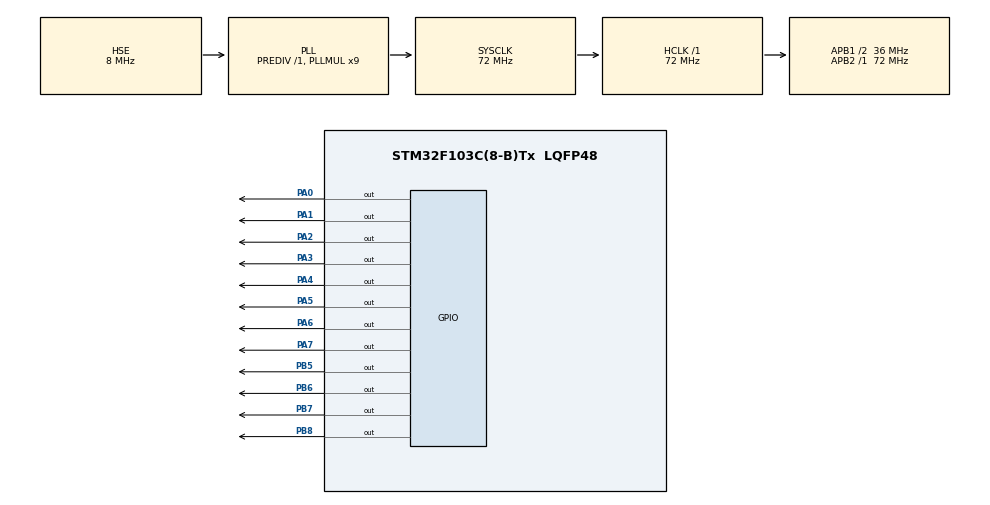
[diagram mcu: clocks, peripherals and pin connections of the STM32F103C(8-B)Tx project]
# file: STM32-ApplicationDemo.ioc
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Mcu.Family=STM32F1
Mcu.Name=STM32F103C(8-B)Tx
Mcu.Package=LQFP48
NVIC.PriorityGroup=NVIC_PRIORITYGROUP_4
PA0-WKUP.GPIO_ModeDefaultOutputPP=GPIO_MODE_OUTPUT_PP
PA0-WKUP.GPIO_PuPd=GPIO_NOPULL
PA0-WKUP.GPIO_Speed=GPIO_SPEED_FREQ_HIGH
PA0-WKUP.PinState=GPIO_PIN_SET
PA0-WKUP.Signal=GPIO_Output
PA1.GPIO_ModeDefaultOutputPP=GPIO_MODE_OUTPUT_PP
PA1.GPIO_PuPd=GPIO_NOPULL
PA1.GPIO_Speed=GPIO_SPEED_FREQ_HIGH
PA1.PinState=GPIO_PIN_SET
PA1.Signal=GPIO_Output
PA13.Mode=Serial_Wire
PA13.Signal=SYS_JTMS-SWDIO
PA14.Mode=Serial_Wire
PA14.Signal=SYS_JTCK-SWCLK
PA2.GPIO_ModeDefaultOutputPP=GPIO_MODE_OUTPUT_PP
PA2.GPIO_PuPd=GPIO_NOPULL
PA2.GPIO_Speed=GPIO_SPEED_FREQ_HIGH
PA2.PinState=GPIO_PIN_SET
PA2.Signal=GPIO_Output
PA3.GPIO_ModeDefaultOutputPP=GPIO_MODE_OUTPUT_PP
PA3.GPIO_PuPd=GPIO_NOPULL
PA3.GPIO_Speed=GPIO_SPEED_FREQ_HIGH
PA3.PinState=GPIO_PIN_SET
PA3.Signal=GPIO_Output
PA4.GPIO_ModeDefaultOutputPP=GPIO_MODE_OUTPUT_PP
PA4.GPIO_PuPd=GPIO_NOPULL
PA4.GPIO_Speed=GPIO_SPEED_FREQ_HIGH
PA4.PinState=GPIO_PIN_SET
PA4.Signal=GPIO_Output
PA5.GPIO_ModeDefaultOutputPP=GPIO_MODE_OUTPUT_PP
PA5.GPIO_PuPd=GPIO_NOPULL
PA5.GPIO_Speed=GPIO_SPEED_FREQ_HIGH
PA5.PinState=GPIO_PIN_SET
PA5.Signal=GPIO_Output
PA6.GPIO_ModeDefaultOutputPP=GPIO_MODE_OUTPUT_PP
PA6.GPIO_PuPd=GPIO_NOPULL
PA6.GPIO_Speed=GPIO_SPEED_FREQ_HIGH
PA6.PinState=GPIO_PIN_SET
PA6.Signal=GPIO_Output
PA7.GPIO_ModeDefaultOutputPP=GPIO_MODE_OUTPUT_PP
PA7.GPIO_PuPd=GPIO_NOPULL
PA7.GPIO_Speed=GPIO_SPEED_FREQ_HIGH
PA7.PinState=GPIO_PIN_SET
PA7.Signal=GPIO_Output
PB5.GPIO_ModeDefaultOutputPP=GPIO_MODE_OUTPUT_PP
PB5.GPIO_PuPd=GPIO_NOPULL
PB5.GPIO_Speed=GPIO_SPEED_FREQ_HIGH
PB5.PinState=GPIO_PIN_SET
PB5.Signal=GPIO_Output
PB6.GPIO_ModeDefaultOutputPP=GPIO_MODE_OUTPUT_PP
PB6.GPIO_PuPd=GPIO_NOPULL
PB6.GPIO_Speed=GPIO_SPEED_FREQ_HIGH
PB6.PinState=GPIO_PIN_SET
PB6.Signal=GPIO_Output
PB7.GPIO_ModeDefaultOutputPP=GPIO_MODE_OUTPUT_PP
PB7.GPIO_PuPd=GPIO_NOPULL
PB7.GPIO_Speed=GPIO_SPEED_FREQ_HIGH
PB7.PinState=GPIO_PIN_SET
PB7.Signal=GPIO_Output
PB8.GPIO_ModeDefaultOutputPP=GPIO_MODE_OUTPUT_PP
PB8.GPIO_PuPd=GPIO_NOPULL
PB8.GPIO_Speed=GPIO_SPEED_FREQ_HIGH
PB8.PinState=GPIO_PIN_SET
PB8.Signal=GPIO_Output
PD0-OSC_IN.Mode=HSE-External-Oscillator
PD0-OSC_IN.Signal=RCC_OSC_IN
PD1-OSC_OUT.Mode=HSE-External-Oscillator
PD1-OSC_OUT.Signal=RCC_OSC_OUT
ProjectManager.HeapSize=0x400
ProjectManager.StackSize=0x800
ProjectManager.TargetToolchain=MDK-ARM V5
RCC.AHBFreq_Value=72000000
RCC.APB1CLKDivider=RCC_HCLK_DIV2
RCC.APB1Freq_Value=36000000
RCC.APB1TimFreq_Value=72000000
RCC.APB2Freq_Value=72000000
RCC.APB2TimFreq_Value=72000000
RCC.EnbaleCSS=true
RCC.HCLKFreq_Value=72000000
RCC.PLLMUL=RCC_PLL_MUL9
RCC.PLLSourceVirtual=RCC_PLLSOURCE_HSE
RCC.RTCClockSelection=RCC_RTCCLKSOURCE_LSE
RCC.SYSCLKFreq_VALUE=72000000
RCC.SYSCLKSource=RCC_SYSCLKSOURCE_PLLCLK
RCC.USBFreq_Value=72000000
board=custom

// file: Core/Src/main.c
/* USER CODE BEGIN Header */
/**
 ******************************************************************************
 * @file           : main.c
 * @brief          : Main program body
 ******************************************************************************
 * @attention
 *
 * Copyright (c) 2025 STMicroelectronics.
 * All rights reserved.
 *
 * This software is licensed under terms that can be found in the LICENSE file
 * in the root directory of this software component.
 * If no LICENSE file comes with this software, it is provided AS-IS.
 *
 ******************************************************************************
 */
/* USER CODE END Header */
#include "main.h"
#include "gpio.h"

/* USER CODE BEGIN PD */
// 控制引脚(PB5 - PB8)
#define LCD_CS_PORT GPIOB
#define LCD_CS_PIN GPIO_PIN_5
#define LCD_RS_PORT GPIOB
#define LCD_RS_PIN GPIO_PIN_6
#define LCD_WR_PORT GPIOB
#define LCD_WR_PIN GPIO_PIN_7
#define LCD_RST_PORT GPIOB
#define LCD_RST_PIN GPIO_PIN_8
// 数据引脚(PA0 - PA7)
#define LCD_DATA_PORT GPIOA

// 控制引脚宏
#define LCD_CS_LOW() (LCD_CS_PORT->BSRR = (uint32_t)LCD_CS_PIN << 16U)
#define LCD_CS_HIGH() (LCD_CS_PORT->BSRR = LCD_CS_PIN)

#define LCD_RS_LOW() (LCD_RS_PORT->BSRR = (uint32_t)LCD_RS_PIN << 16U)
#define LCD_RS_HIGH() (LCD_RS_PORT->BSRR = LCD_RS_PIN)

#define LCD_WR_LOW() (LCD_WR_PORT->BSRR = (uint32_t)LCD_WR_PIN << 16U)
#define LCD_WR_HIGH() (LCD_WR_PORT->BSRR = LCD_WR_PIN)

#define LCD_RST_LOW() (LCD_RST_PORT->BSRR = (uint32_t)LCD_RST_PIN << 16U)
#define LCD_RST_HIGH() (LCD_RST_PORT->BSRR = LCD_RST_PIN)

/* USER CODE END PD */

/* USER CODE BEGIN PV */

// 用于WS2812B的G、R、B颜色[0-255]二维数组
// uint8_t GRB_Color[3][256];

const uint8_t Font_16x16_Qing[32] = {
    0x00, 0x40, 0x20, 0x40, 0x17, 0xfc, 0x10, 0x40, 0x83, 0xf8, 0x40, 0x40, 0x47, 0xfe, 0x10, 0x00,
    0x13, 0xf8, 0x22, 0x08, 0xe3, 0xf8, 0x22, 0x08, 0x23, 0xf8, 0x22, 0x08, 0x22, 0x28, 0x02, 0x10}; /* "清" */

const uint8_t Font_16x16_Ping[32] = {
    0x00, 0x00, 0x3f, 0xf8, 0x20, 0x08, 0x20, 0x08, 0x3f, 0xf8, 0x24, 0x10, 0x22, 0x20, 0x2f, 0xf8,
    0x22, 0x20, 0x22, 0x20, 0x3f, 0xfc, 0x22, 0x20, 0x42, 0x20, 0x44, 0x20, 0x84, 0x20, 0x08, 0x20}; /* "屏" */

const uint8_t Font_16x16_Zhong[32] = {
    0x01, 0x00, 0x01, 0x00, 0x01, 0x00, 0x01, 0x00, 0x3F, 0xF8, 0x21, 0x08, 0x21, 0x08, 0x21, 0x08,
    0x21, 0x08, 0x21, 0x08, 0x3F, 0xF8, 0x01, 0x00, 0x01, 0x00, 0x01, 0x00, 0x01, 0x00, 0x01, 0x00}; /* "中" */

const uint8_t dot[] = {
    0x00, 0x00, 0x00, 0x00, 0x00, 0x00, 0x00, 0x00, 0x00, 0x00, 0x00, 0x00, 0x00, 0x00, 0x00, 0x00,
    0x01, 0x80, 0x01, 0x80, 0x00, 0x00, 0x00, 0x00, 0x00, 0x00, 0x00, 0x00, 0x00, 0x00, 0x00, 0x00}; /* "." */

/* USER CODE END PV */

void SystemClock_Config(void);
/* USER CODE BEGIN PFP */

/**
 * @brief  将 8 位数据写入到数据总线 (PA0-PA7)
 * @param  data: 要写入的 8 位数据
 */
static void Lcd_Write_Data_Bus(uint8_t data)
{
  // ☆★☆★☆★☆★☆★!!! 使用ODR的方式不是原子操作，在读取和写入之间的时间间隔内，会被中断影响 !!!☆★☆★☆★☆★☆★
  // 使用 BSRR 直接操作，无需读取 ODR
  // BSRR 高16位是 Reset (置0)，低16位是 Set (置1)
  // 我们操作的是 PA0-PA7，所以数据要左移 8 位

  uint32_t set_bits = ((uint32_t)data);
  uint32_t reset_bits = ((uint32_t)(~data & 0xFF));

  LCD_DATA_PORT->BSRR = (reset_bits << 16) | set_bits;
}

/**
 * @brief  向LCD写入一个命令 (RS=0)
 * @param  cmd: 8位命令
 */
void Lcd_Write_Cmd(uint8_t cmd)
{
  LCD_CS_LOW(); // 1. 片选拉低，选中LCD
  LCD_RS_LOW(); // 2. RS拉低，表示这是命令

  Lcd_Write_Data_Bus(cmd); // 3. 将命令写入数据总线

  LCD_WR_LOW(); // 4. WR拉低

  LCD_WR_HIGH(); // 5. WR拉高 (产生一个上升沿，数据被锁存)

  LCD_CS_HIGH(); // 6. 片选拉高，释放LCD
}

/**
 * @brief  向LCD写入一个数据 (RS=1)
 * @param  data: 8位数据
 */
void Lcd_Write_Data(uint8_t data)
{
  LCD_CS_LOW();  // 1. 片选拉低
  LCD_RS_HIGH(); // 2. RS拉高，表示这是数据

  Lcd_Write_Data_Bus(data); // 3. 将数据写入数据总线

  LCD_WR_LOW(); // 4. WR拉低

  LCD_WR_HIGH(); // 5. WR拉高 (锁存数据)

  LCD_CS_HIGH(); // 6. 片选拉高
}

/* USER CODE END PFP */

/* USER CODE BEGIN 0 */

/**
 * @brief LCD硬件复位
 *
 */
void Lcd_Reset(void)
{
  // // 1. 先拉高，确保复位引脚处于已知状态
  LCD_RST_HIGH();
  HAL_Delay(50);

  // 2. 拉低复位
  LCD_RST_LOW();
  HAL_Delay(120); // 保持足够长的时间

  // 3. 拉高结束复位
  LCD_RST_HIGH();
  HAL_Delay(120); // 等待 LCD 内部逻辑复位完成
}

void Lcd_Init(void)
{
  HAL_Delay(200);

  // 1. 执行硬件复位
  Lcd_Reset();

  // 2. 开始执行S6D04D1X21初始化序列
  Lcd_Write_Cmd(0xE0);  // MDDI Control 1 (E0h)
  Lcd_Write_Data(0x01); // VWAKE_EN=1
  HAL_Delay(150);

  Lcd_Write_Cmd(0x11); // Sleep Out (11h)
  HAL_Delay(150);      // 必须等待 150ms

  Lcd_Write_Cmd(0xF3);  // Power Control Register (F3h)
  Lcd_Write_Data(0x01); // VCI1_EN
  Lcd_Write_Data(0x00);
  Lcd_Write_Data(0x00);
  Lcd_Write_Data(0x0C); // VCI1 level
  Lcd_Write_Data(0x03); // VGH, VGL
  Lcd_Write_Data(0x75);
  Lcd_Write_Data(0x75);
  Lcd_Write_Data(0x30);

  Lcd_Write_Cmd(0xF4); // VCOM Control Register (F4h)
  Lcd_Write_Data(0x4C);
  Lcd_Write_Data(0x4C);
  Lcd_Write_Data(0x44);
  Lcd_Write_Data(0x44);
  Lcd_Write_Data(0x22);

  Lcd_Write_Cmd(0xF5); // Source Output Control Register (F5h)
  Lcd_Write_Data(0x10);
  Lcd_Write_Data(0x22);
  Lcd_Write_Data(0x05);
  Lcd_Write_Data(0xF0);
  Lcd_Write_Data(0x70);
  Lcd_Write_Data(0x1F);
  HAL_Delay(30);

  // VCI1 逐步上电
  Lcd_Write_Cmd(0xF3); // Power Control Register (F3h)
  Lcd_Write_Data(0x03);
  HAL_Delay(30);

  Lcd_Write_Cmd(0xF3);
  Lcd_Write_Data(0x07);
  HAL_Delay(30);

  Lcd_Write_Cmd(0xF3);
  Lcd_Write_Data(0x0F);
  HAL_Delay(30);

  Lcd_Write_Cmd(0xF3);
  Lcd_Write_Data(0x1F);
  HAL_Delay(30);

  Lcd_Write_Cmd(0xF3);
  Lcd_Write_Data(0x7F);
  HAL_Delay(30);

  // --- Gamma 设置 (非常重要) ---
  Lcd_Write_Cmd(0xF7); // Positive Gamma Control Register for Red (F7h)
  Lcd_Write_Data(0x80);
  Lcd_Write_Data(0x00);
  Lcd_Write_Data(0x00);
  Lcd_Write_Data(0x05);
  Lcd_Write_Data(0x0D);
  Lcd_Write_Data(0x1F);
  Lcd_Write_Data(0x26);
  Lcd_Write_Data(0x2D);
  Lcd_Write_Data(0x14);
  Lcd_Write_Data(0x15);
  Lcd_Write_Data(0x26);
  Lcd_Write_Data(0x20);
  Lcd_Write_Data(0x01);
  Lcd_Write_Data(0x22);
  Lcd_Write_Data(0x22);

  Lcd_Write_Cmd(0xF8); // Negative Gamma Control Register for Red
  Lcd_Write_Data(0x80);
  Lcd_Write_Data(0x00);
  Lcd_Write_Data(0x00);
  Lcd_Write_Data(0x00);
  Lcd_Write_Data(0x07);
  Lcd_Write_Data(0x1E);
  Lcd_Write_Data(0x2A);
  Lcd_Write_Data(0x32);
  Lcd_Write_Data(0x10);
  Lcd_Write_Data(0x16);
  Lcd_Write_Data(0x36);
  Lcd_Write_Data(0x3C);
  Lcd_Write_Data(0x3B);
  Lcd_Write_Data(0x22);
  Lcd_Write_Data(0x22);

  Lcd_Write_Cmd(0xF9); // Positive Gamma Control Register for Green
  Lcd_Write_Data(0x80);
  Lcd_Write_Data(0x00);
  Lcd_Write_Data(0x00);
  Lcd_Write_Data(0x05);
  Lcd_Write_Data(0x0D);
  Lcd_Write_Data(0x1F);
  Lcd_Write_Data(0x26);
  Lcd_Write_Data(0x2D);
  Lcd_Write_Data(0x14);
  Lcd_Write_Data(0x15);
  Lcd_Write_Data(0x26);
  Lcd_Write_Data(0x20);
  Lcd_Write_Data(0x01);
  Lcd_Write_Data(0x22);
  Lcd_Write_Data(0x22);

  Lcd_Write_Cmd(0xFA); // Negative Gamma Control Register for Green
  Lcd_Write_Data(0x80);
  Lcd_Write_Data(0x00);
  Lcd_Write_Data(0x00);
  Lcd_Write_Data(0x00);
  Lcd_Write_Data(0x07);
  Lcd_Write_Data(0x1E);
  Lcd_Write_Data(0x2A);
  Lcd_Write_Data(0x32);
  Lcd_Write_Data(0x10);
  Lcd_Write_Data(0x16);
  Lcd_Write_Data(0x36);
  Lcd_Write_Data(0x3C);
  Lcd_Write_Data(0x3B);
  Lcd_Write_Data(0x22);
  Lcd_Write_Data(0x22);

  Lcd_Write_Cmd(0xFB); // Positive Gamma Control Register for Blue
  Lcd_Write_Data(0x80);
  Lcd_Write_Data(0x00);
  Lcd_Write_Data(0x00);
  Lcd_Write_Data(0x05);
  Lcd_Write_Data(0x0D);
  Lcd_Write_Data(0x1F);
  Lcd_Write_Data(0x26);
  Lcd_Write_Data(0x2D);
  Lcd_Write_Data(0x14);
  Lcd_Write_Data(0x15);
  Lcd_Write_Data(0x26);
  Lcd_Write_Data(0x20);
  Lcd_Write_Data(0x01);
  Lcd_Write_Data(0x22);
  Lcd_Write_Data(0x22);

  Lcd_Write_Cmd(0xFC); // Negative Gamma Control Register for Blue
  Lcd_Write_Data(0x80);
  Lcd_Write_Data(0x00);
  Lcd_Write_Data(0x00);
  Lcd_Write_Data(0x00);
  Lcd_Write_Data(0x07);
  Lcd_Write_Data(0x1E);
  Lcd_Write_Data(0x2A);
  Lcd_Write_Data(0x32);
  Lcd_Write_Data(0x10);
  Lcd_Write_Data(0x16);
  Lcd_Write_Data(0x36);
  Lcd_Write_Data(0x3C);
  Lcd_Write_Data(0x3B);
  Lcd_Write_Data(0x22);
  Lcd_Write_Data(0x22);

  // --- 结束 Gamma 设置 ---

  Lcd_Write_Cmd(0x34); // Tearing Effect Line OFF (34h)

  Lcd_Write_Cmd(0x36);         // Memory Data Access Control (36h)
  Lcd_Write_Data(0x80 | 0x40); // 设置扫描方向等, 如果显示反了, 调整这个值

  Lcd_Write_Cmd(0x3A);  // Interface Pixel Format (3Ah)
  Lcd_Write_Data(0x55); // 0x55 = 16bit/pixel (RGB565)

  Lcd_Write_Cmd(0xF2); // Display Control Register (F2h)
  Lcd_Write_Data(0x17);
  Lcd_Write_Data(0x17);
  Lcd_Write_Data(0x0F);
  Lcd_Write_Data(0x08);
  Lcd_Write_Data(0x08);
  Lcd_Write_Data(0x00);
  Lcd_Write_Data(0x00);
  Lcd_Write_Data(0x00);
  Lcd_Write_Data(0x06);
  Lcd_Write_Data(0x13);
  Lcd_Write_Data(0x00);

  Lcd_Write_Cmd(0xF6); // Interface Control Register (F6h)
  Lcd_Write_Data(0x00);
  Lcd_Write_Data(0x80); // 8-bit 8080 interface
  Lcd_Write_Data(0x00);
  Lcd_Write_Data(0x00);

  Lcd_Write_Cmd(0xFD); // Gate Control Register (FDh)
  Lcd_Write_Data(0x02);
  Lcd_Write_Data(0x00); // 240*432

  HAL_Delay(20);

  // 3. 最终开启显示
  Lcd_Write_Cmd(0x29); // Display On (29h)
  HAL_Delay(20);

  // --- 初始化完成 ---
}

/**
 * @brief 设置LCD的绘图窗口
 *
 * @param x_start X起始位置
 * @param y_start Y起始位置
 * @param x_end X结束位置
 * @param y_end Y结束位置
 */
void Lcd_Set_Window(uint16_t x_start, uint16_t y_start, uint16_t x_end, uint16_t y_end)
{
  // 设置 X 坐标
  Lcd_Write_Cmd(0x2A);
  Lcd_Write_Data(x_start >> 8);
  Lcd_Write_Data(x_start & 0xFF);
  Lcd_Write_Data(x_end >> 8);
  Lcd_Write_Data(x_end & 0xFF);

  // 设置 Y 坐标
  Lcd_Write_Cmd(0x2B);
  Lcd_Write_Data(y_start >> 8);
  Lcd_Write_Data(y_start & 0xFF);
  Lcd_Write_Data(y_end >> 8);
  Lcd_Write_Data(y_end & 0xFF);
}

/**
 * @brief 绘制一个16*16的字符
 *
 * @param x x坐标
 * @param y y坐标
 * @param font 要绘制的字
 * @param color 字体颜色
 */
void Lcd_Draw_Char_16x16(uint16_t x, uint16_t y, const uint8_t *font, uint16_t color, uint16_t bg_color)
{
  uint16_t i, j;
  // 设置绘制窗口为 16x16 区域
  Lcd_Set_Window(x, y, x + 15, y + 15);
  Lcd_Write_Cmd(0x2C);

  LCD_CS_LOW();
  LCD_RS_HIGH();

  for (i = 0; i < 32; i++) // 32字节数据
  {
    uint8_t temp = font[i];
    for (j = 0; j < 8; j++) // 每字节8位
    {
      // 【核心修复】根据位值选择颜色：1用字体色，0用背景色
      uint16_t pixel_color = (temp & 0x80) ? color : bg_color;

      // --- 写入高8位 ---
      Lcd_Write_Data_Bus(pixel_color >> 8);
      LCD_WR_LOW();
      LCD_WR_HIGH();

      // --- 写入低8位 ---
      Lcd_Write_Data_Bus(pixel_color & 0xFF);
      LCD_WR_LOW();
      LCD_WR_HIGH();

      temp <<= 1;
    }
  }
  LCD_CS_HIGH();
}

/**
 * @brief  使用特定颜色填充整个屏幕 (高速优化版)
 * @param  color: 16-bit (RGB565) 颜色值
 */
void Lcd_Clear(uint16_t color)
{
  unsigned long i;
  // 您的代码中 96000 = 240 * 432
  unsigned long total_pixels = (unsigned long)240 * 432;

  // 1. 设置窗口为全屏 (坐标 0,0 到 239,431)
  Lcd_Set_Window(0, 0, 240 - 1, 432 - 1);

  // 2. 发送 "准备写内存" 命令
  Lcd_Write_Cmd(0x2C);

  // 3. 准备好要发送的高8位和低8位
  uint8_t color_high = (uint8_t)(color >> 8);
  uint8_t color_low = (uint8_t)(color & 0xFF);

  // 4. --- 开始高速写入 ---
  // 保持 CS=Low, RS=High，这使我们能连续发送数据
  LCD_CS_LOW();
  LCD_RS_HIGH();

  for (i = 0; i < total_pixels; i++)
  {
    // 发送高8位
    Lcd_Write_Data_Bus(color_high);
    LCD_WR_LOW();
    // for (volatile int d = 0; d < 20; d++)
    //   __NOP();
    LCD_WR_HIGH();

    // 发送低8位
    Lcd_Write_Data_Bus(color_low);
    LCD_WR_LOW();
    // for (volatile int d = 0; d < 20; d++)
    //   __NOP();
    LCD_WR_HIGH();
  }

  // 5. --- 结束高速写入 ---
  LCD_CS_HIGH();

  uint16_t text_color = ~color;

  // 计算居中位置 (屏幕宽240, 高432)
  // X轴居中: (240 - 16) / 2 = 112
  // Y轴起始: 150 (大概中间偏上)
  uint16_t x_pos = 112;
  uint16_t y_pos = 150;

  Lcd_Draw_Char_16x16(x_pos, y_pos, Font_16x16_Qing, text_color, color);
  Lcd_Draw_Char_16x16(x_pos, y_pos + 20, Font_16x16_Ping, text_color, color); // 垂直间距 20
  Lcd_Draw_Char_16x16(x_pos, y_pos + 40, Font_16x16_Zhong, text_color, color);
  Lcd_Draw_Char_16x16(x_pos, y_pos + 60, dot, text_color, color);
  Lcd_Draw_Char_16x16(x_pos, y_pos + 70, dot, text_color, color);
  Lcd_Draw_Char_16x16(x_pos, y_pos + 80, dot, text_color, color);
}

/* USER CODE END 0 */

int main(void)
{

  /* MCU Configuration--------------------------------------------------------*/

  /* Reset of all peripherals, Initializes the Flash interface and the Systick. */
  HAL_Init();

  /* USER CODE BEGIN Init */
  // HAL_Delay(100);
  /* USER CODE END Init */

  /* Configure the system clock */
  SystemClock_Config();

  /* Initialize all configured peripherals */
  MX_GPIO_Init();
  /* USER CODE BEGIN 2 */
  Lcd_Init();
  Lcd_Clear(0xFFFF);

  uint16_t test_colors[] = {
      0xF800, // 红色 (Red)
      0x07E0, // 绿色 (Green)
      0x001F, // 蓝色 (Blue)
      0xFFFF, // 白色 (White)
      0x0000, // 黑色 (Black)
      0xFFE0, // 黄色 (Yellow)
      0xF81F, // 紫色 (Magenta)
      0x07FF  // 青色 (Cyan)
  };

  uint8_t color_index = 0;
  uint8_t total_colors = sizeof(test_colors) / sizeof(test_colors[0]);

  // int sign = 0;
  // for (int i = 0; i < 256; i++)
  // {
  //   // 这里的逻辑是将 0 - 255 分成三段，确保 R, G, B 不会同时达到最大值 从而产生鲜艳的彩色，而不是白色
  //   if (i < 85)
  //   {
  //     // 第一阶段 (0~84): 红色渐弱，绿色渐强
  //     // R: 255 -> 0
  //     // G: 0 -> 255
  //     // B: 0
  //     GRB_Color[1][i] = 255 - i * 3; // R
  //     GRB_Color[0][i] = i * 3;       // G
  //     GRB_Color[2][i] = 0;           // B
  //   }
  //   else if (i < 170)
  //   {
  //     // 第二阶段 (85~169): 绿色渐弱，蓝色渐强
  //     // R: 0
  //     // G: 255 -> 0
  //     // B: 0 -> 255
  //     GRB_Color[1][i] = 0;                  // R
  //     GRB_Color[0][i] = 255 - (i - 85) * 3; // G
  //     GRB_Color[2][i] = (i - 85) * 3;       // B
  //   }
  //   else
  //   {
  //     // 第三阶段 (170~255): 蓝色渐弱，红色渐强
  //     // R: 0 -> 255
  //     // G: 0
  //     // B: 255 -> 0
  //     GRB_Color[1][i] = (i - 170) * 3;       // R
  //     GRB_Color[0][i] = 0;                   // G
  //     GRB_Color[2][i] = 255 - (i - 170) * 3; // B
  //   }
  // }

  /* USER CODE END 2 */

  /* Infinite loop */
  while (1)
  {

    /* USER CODE BEGIN 3 */

    // WS2812_Update(GRB_Color[0][sign], GRB_Color[1][sign], GRB_Color[2][sign]);
    // sign = ++sign > 255 ? 0 : sign;

    // 1. 刷屏当前颜色
    Lcd_Clear(test_colors[color_index]);

    // 2. 切换到下一个颜色
    color_index++;
    if (color_index >= total_colors)
    {
      color_index = 0;
    }

    // 3. 延时 1000ms (1秒)
    HAL_Delay(1000);
  }
  /* USER CODE END 3 */
}

void SystemClock_Config(void)
{
  RCC_OscInitTypeDef RCC_OscInitStruct = {0};
  RCC_ClkInitTypeDef RCC_ClkInitStruct = {0};

  /** Initializes the RCC Oscillators according to the specified parameters
   * in the RCC_OscInitTypeDef structure.
   */
  RCC_OscInitStruct.OscillatorType = RCC_OSCILLATORTYPE_HSE;
  RCC_OscInitStruct.HSEState = RCC_HSE_ON;
  RCC_OscInitStruct.HSEPredivValue = RCC_HSE_PREDIV_DIV1;
  RCC_OscInitStruct.HSIState = RCC_HSI_ON;
  RCC_OscInitStruct.PLL.PLLState = RCC_PLL_ON;
  RCC_OscInitStruct.PLL.PLLSource = RCC_PLLSOURCE_HSE;
  RCC_OscInitStruct.PLL.PLLMUL = RCC_PLL_MUL9;
  if (HAL_RCC_OscConfig(&RCC_OscInitStruct) != HAL_OK)
  {
    Error_Handler();
  }

  /** Initializes the CPU, AHB and APB buses clocks
   */
  RCC_ClkInitStruct.ClockType = RCC_CLOCKTYPE_HCLK | RCC_CLOCKTYPE_SYSCLK | RCC_CLOCKTYPE_PCLK1 | RCC_CLOCKTYPE_PCLK2;
  RCC_ClkInitStruct.SYSCLKSource = RCC_SYSCLKSOURCE_PLLCLK;
  RCC_ClkInitStruct.AHBCLKDivider = RCC_SYSCLK_DIV1;
  RCC_ClkInitStruct.APB1CLKDivider = RCC_HCLK_DIV2;
  RCC_ClkInitStruct.APB2CLKDivider = RCC_HCLK_DIV1;

  if (HAL_RCC_ClockConfig(&RCC_ClkInitStruct, FLASH_LATENCY_2) != HAL_OK)
  {
    Error_Handler();
  }

  /** Enables the Clock Security System
   */
  HAL_RCC_EnableCSS();
}

void Error_Handler(void)
{
  __disable_irq();
  while (1)
  {
  }
}
